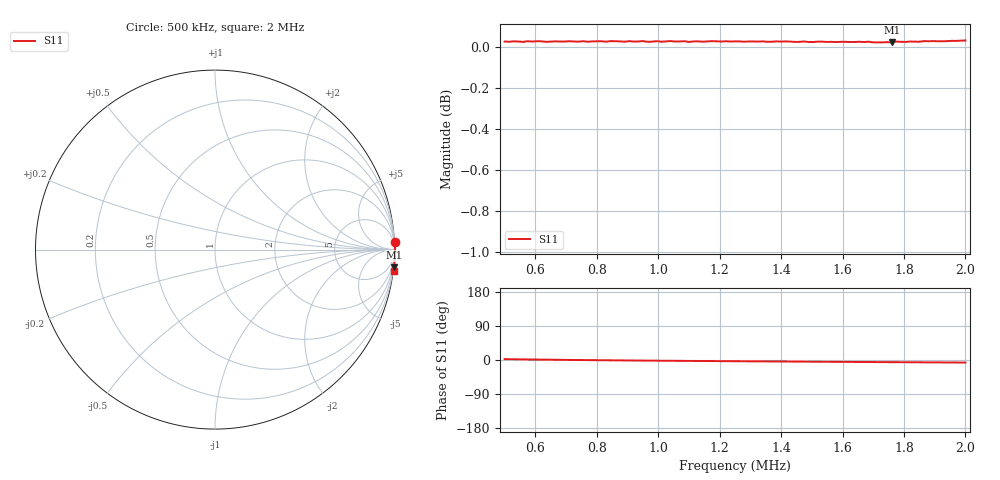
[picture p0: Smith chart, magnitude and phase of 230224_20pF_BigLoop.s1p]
# HZ S RI R 50
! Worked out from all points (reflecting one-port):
!   101 points, 500 kHz to 2 MHz, reference 50 ohm
!   lowest |S11| = 0.0 dB at 1.76 MHz (marker M1)
!   phase of S11 starts at 2 deg and turns -9 deg over the sweep
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500000  1.002 0.0414
530000  1.002 0.0347
605000  1.003 0.0202
620000  1.003 0.0175
695000  1.003 0.00564
755000  1.003 -0.00295
770000  1.003 -0.00516
875000  1.003 -0.0181
1010000  1.002 -0.0334
1040000  1.002 -0.0361
1070000  1.002 -0.0393
1250000  1.001 -0.0569
1295000  1.001 -0.0609
1310000  1.001 -0.0618
1325000  1.001 -0.0635
1430000  1 -0.0728
1445000  1 -0.0737
1550000  0.9992 -0.0828
1625000  0.9987 -0.0885
1670000  0.9983 -0.0925
1730000  0.9978 -0.0967
1760000  0.9975 -0.0992
1775000  0.9978 -0.1004
1820000  0.9975 -0.1038
1865000  0.9974 -0.107
1895000  0.9971 -0.1099
1910000  0.9969 -0.1105
2000000  0.9966 -0.1175
